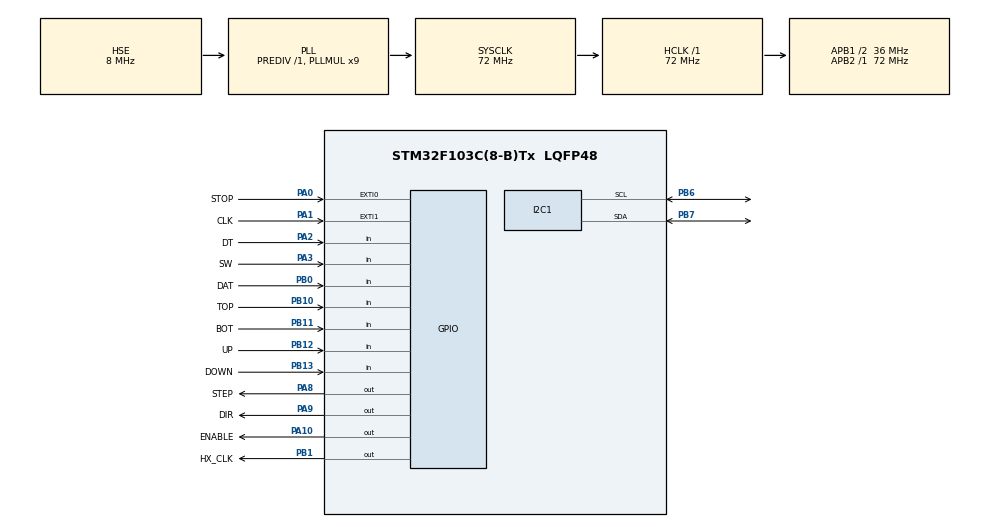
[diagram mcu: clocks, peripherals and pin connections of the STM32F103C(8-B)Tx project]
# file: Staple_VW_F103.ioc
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Mcu.Family=STM32F1
Mcu.Name=STM32F103C(8-B)Tx
Mcu.Package=LQFP48
NVIC.EXTI0_IRQn=true\:0\:0\:false\:false\:true\:true\:true\:true
NVIC.EXTI1_IRQn=true\:1\:0\:true\:false\:true\:true\:true\:true
NVIC.PriorityGroup=NVIC_PRIORITYGROUP_4
NVIC.TIM2_IRQn=true\:3\:0\:true\:false\:true\:true\:true\:true
PA0-WKUP.GPIO_Label=STOP
PA0-WKUP.GPIO_ModeDefaultEXTI=GPIO_MODE_IT_FALLING
PA0-WKUP.GPIO_PuPd=GPIO_PULLUP
PA0-WKUP.Signal=GPXTI0
PA1.GPIO_Label=CLK
PA1.GPIO_ModeDefaultEXTI=GPIO_MODE_IT_FALLING
PA1.GPIO_PuPd=GPIO_PULLUP
PA1.Signal=GPXTI1
PA10.GPIO_Label=ENABLE
PA10.GPIO_Speed=GPIO_SPEED_FREQ_MEDIUM
PA10.Signal=GPIO_Output
PA13.Mode=Serial_Wire
PA13.Signal=SYS_JTMS-SWDIO
PA14.Mode=Serial_Wire
PA14.Signal=SYS_JTCK-SWCLK
PA2.GPIO_Label=DT
PA2.GPIO_PuPd=GPIO_PULLUP
PA2.Signal=GPIO_Input
PA3.GPIO_Label=SW
PA3.GPIO_PuPd=GPIO_PULLUP
PA3.Signal=GPIO_Input
PA8.GPIO_Label=STEP
PA8.GPIO_Speed=GPIO_SPEED_FREQ_MEDIUM
PA8.Signal=GPIO_Output
PA9.GPIO_Label=DIR
PA9.GPIO_Speed=GPIO_SPEED_FREQ_MEDIUM
PA9.Signal=GPIO_Output
PB0.GPIO_Label=DAT
PB0.GPIO_PuPd=GPIO_PULLUP
PB0.Signal=GPIO_Input
PB1.GPIO_Label=HX_CLK
PB1.GPIO_Speed=GPIO_SPEED_FREQ_MEDIUM
PB1.Signal=GPIO_Output
PB10.GPIO_Label=TOP
PB10.GPIO_PuPd=GPIO_PULLUP
PB10.Signal=GPIO_Input
PB11.GPIO_Label=BOT
PB11.GPIO_PuPd=GPIO_PULLUP
PB11.Signal=GPIO_Input
PB12.GPIO_Label=UP
PB12.GPIO_PuPd=GPIO_PULLUP
PB12.Signal=GPIO_Input
PB13.GPIO_Label=DOWN
PB13.GPIO_PuPd=GPIO_PULLUP
PB13.Signal=GPIO_Input
PB6.Mode=I2C
PB6.Signal=I2C1_SCL
PB7.Mode=I2C
PB7.Signal=I2C1_SDA
PD0-OSC_IN.Mode=HSE-External-Oscillator
PD0-OSC_IN.Signal=RCC_OSC_IN
PD1-OSC_OUT.Mode=HSE-External-Oscillator
PD1-OSC_OUT.Signal=RCC_OSC_OUT
ProjectManager.HeapSize=0x200
ProjectManager.StackSize=0x400
ProjectManager.TargetToolchain=Makefile
RCC.AHBFreq_Value=72000000
RCC.APB1CLKDivider=RCC_HCLK_DIV2
RCC.APB1Freq_Value=36000000
RCC.APB1TimFreq_Value=72000000
RCC.APB2Freq_Value=72000000
RCC.APB2TimFreq_Value=72000000
RCC.HCLKFreq_Value=72000000
RCC.PLLMUL=RCC_PLL_MUL9
RCC.PLLSourceVirtual=RCC_PLLSOURCE_HSE
RCC.SYSCLKFreq_VALUE=72000000
RCC.SYSCLKSource=RCC_SYSCLKSOURCE_PLLCLK
RCC.USBFreq_Value=72000000
TIM2.Period=999
TIM2.Prescaler=71
VP_TIM2_VS_ClockSourceINT.Mode=Internal
board=custom

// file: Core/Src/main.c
/* USER CODE BEGIN Header */
/**
  ******************************************************************************
  * @file           : main.c
  * @brief          : Main program body
  ******************************************************************************
  * @attention
  *
  * Copyright (c) 2026 STMicroelectronics.
  * All rights reserved.
  *
  * This software is licensed under terms that can be found in the LICENSE file
  * in the root directory of this software component.
  * If no LICENSE file comes with this software, it is provided AS-IS.
  *
  ******************************************************************************
  */
/* USER CODE END Header */
#include "main.h"
#include "i2c.h"
#include "tim.h"
#include "gpio.h"

/* USER CODE BEGIN Includes */
#include "calibration.h"
#include "config.h"
#include "display.h"
#include "input.h"
#include "loadcell.h"
#include "motor.h"
#include <math.h>

/* USER CODE END Includes */

/* USER CODE BEGIN PV */
static float s_target_kg = FORCE_DEFAULT_KG;
static uint32_t s_display_tick = 0;
static float s_last_saved_target_kg = FORCE_DEFAULT_KG;
static uint32_t s_last_target_change_tick = 0;
static uint32_t s_last_flash_save_tick = 0;
static uint32_t s_stop_confirm_until_tick = 0;
static bool s_stop_confirm_armed = false;

/* USER CODE END PV */

void SystemClock_Config(void);

int main(void)
{

  /* MCU Configuration--------------------------------------------------------*/

  /* Reset of all peripherals, Initializes the Flash interface and the Systick. */
  HAL_Init();

  /* Configure the system clock */
  SystemClock_Config();

  /* Initialize all configured peripherals */
  MX_GPIO_Init();
  MX_I2C1_Init();
  MX_TIM2_Init();
  /* USER CODE BEGIN 2 */
  motor_init();
  loadcell_init();
  input_init();
  calib_init();

  {
    float saved_scale;
    int32_t saved_offset;
    float saved_target;
    if (flash_load(&saved_scale, &saved_offset, &saved_target)) {
      loadcell_set_scale(saved_scale);
      loadcell_set_offset(saved_offset);
      if (saved_target > 0.0f && saved_target <= FORCE_MAX_KG) {
        s_target_kg = saved_target;
      }
    }
  }
  s_last_saved_target_kg = s_target_kg;
  s_last_target_change_tick = HAL_GetTick();
  s_last_flash_save_tick = HAL_GetTick();

  display_init();
  display_set_screen(SCREEN_MAIN);
  display_set_force(0.0f, s_target_kg);

  HAL_TIM_Base_Start_IT(&htim2);

  /* USER CODE END 2 */

  /* Infinite loop */
  while (1)
  {

    /* USER CODE BEGIN 3 */
    loadcell_update();
    input_update();
    motor_update();

    float force = loadcell_get_kg();
    int8_t enc_delta = input_enc_get_delta();
    DisplayScreen cur_screen = display_get_screen();

    if (input_stop_pressed()) {
      input_stop_clear();
      uint32_t now = HAL_GetTick();
      if (cur_screen == SCREEN_ERROR) {
        if (s_stop_confirm_armed && now <= s_stop_confirm_until_tick) {
          s_stop_confirm_armed = false;
          motor_clear_error();
          display_set_screen(SCREEN_MAIN);
          cur_screen = SCREEN_MAIN;
        } else {
          s_stop_confirm_armed = true;
          s_stop_confirm_until_tick = now + 2000U;
          display_show_error("STOP: press again");
          cur_screen = SCREEN_ERROR;
        }
      } else {
        s_stop_confirm_armed = true;
        s_stop_confirm_until_tick = now + 2000U;
        display_show_error("STOP: press again");
        cur_screen = SCREEN_ERROR;
      }
    }

    if (loadcell_has_error() && motor_is_running()) {
      motor_stop();
      display_show_error("HX711 no response");
    }

    if (cur_screen == SCREEN_MAIN) {

      if (motor_is_running()) {
        if (force >= s_target_kg * OVERLOAD_FACTOR) {
          motor_emergency_stop();
          display_show_error("OVERLOAD!");
        } else if (force >= s_target_kg) {
          motor_stop();
        }
      }

      bool joy_up = input_joy_up();
      bool joy_down = input_joy_down();

      if (joy_up && !motor_is_limit_top()) {
        uint16_t spd = (force >= s_target_kg * SLOWDOWN_THRESHOLD) ? SPEED_SLOW : SPEED_FAST;
        motor_move_up(spd);
      } else if (joy_down && !motor_is_limit_bot()) {
        uint16_t spd = (force >= s_target_kg * SLOWDOWN_THRESHOLD) ? SPEED_SLOW : SPEED_FAST;
        motor_move_down(spd);
      } else if (!joy_up && !joy_down && motor_is_running()) {
        motor_stop();
      }

      if (enc_delta != 0) {
        s_target_kg += (float)enc_delta * FORCE_STEP_KG;
        if (s_target_kg < FORCE_STEP_KG) s_target_kg = FORCE_STEP_KG;
        if (s_target_kg > FORCE_MAX_KG) s_target_kg = FORCE_MAX_KG;
        s_last_target_change_tick = HAL_GetTick();
      }

      if (input_enc_sw_pressed()) {
        display_set_screen(SCREEN_MENU);
      }

      if ((HAL_GetTick() - s_display_tick) >= 100U) {
        s_display_tick = HAL_GetTick();
        display_set_force(force, s_target_kg);
      }

      if (!motor_is_running()) {
        uint32_t now = HAL_GetTick();
        if ((now - s_last_target_change_tick) >= 1500U &&
            (now - s_last_flash_save_tick) >= 15000U &&
            fabsf(s_target_kg - s_last_saved_target_kg) >= 0.05f)
        {
          if (flash_save(loadcell_get_scale(), loadcell_get_offset(), s_target_kg)) {
            s_last_saved_target_kg = s_target_kg;
            s_last_flash_save_tick = now;
          }
        }
      }

    } else if (cur_screen == SCREEN_MENU) {

      if (enc_delta > 0) display_menu_next();
      else if (enc_delta < 0) display_menu_prev();

      if (input_enc_sw_pressed()) {
        uint8_t item = display_menu_get_item();
        switch (item) {
          case 0: display_set_screen(SCREEN_MAIN); break;
          case 1: calib_start(s_target_kg); break;
          case 2: display_set_screen(SCREEN_SETTINGS); break;
          case 3: motor_reset_position(); display_set_screen(SCREEN_MAIN); break;
          default: break;
        }
      }

    } else if (cur_screen == SCREEN_CALIBRATION) {

      if (calib_is_active()) {
        calib_adjust(enc_delta);
        if (input_enc_sw_pressed()) calib_confirm();
        calib_update();
      } else {
        display_set_screen(SCREEN_MAIN);
      }

    } else if (cur_screen == SCREEN_SETTINGS) {

      if (input_enc_sw_pressed()) {
        display_set_screen(SCREEN_MENU);
      }
    }

    display_update();
  }
  /* USER CODE END 3 */
}

void SystemClock_Config(void)
{
  RCC_OscInitTypeDef RCC_OscInitStruct = {0};
  RCC_ClkInitTypeDef RCC_ClkInitStruct = {0};

  /** Initializes the RCC Oscillators according to the specified parameters
  * in the RCC_OscInitTypeDef structure.
  */
  RCC_OscInitStruct.OscillatorType = RCC_OSCILLATORTYPE_HSE;
  RCC_OscInitStruct.HSEState = RCC_HSE_ON;
  RCC_OscInitStruct.HSEPredivValue = RCC_HSE_PREDIV_DIV1;
  RCC_OscInitStruct.HSIState = RCC_HSI_ON;
  RCC_OscInitStruct.PLL.PLLState = RCC_PLL_ON;
  RCC_OscInitStruct.PLL.PLLSource = RCC_PLLSOURCE_HSE;
  RCC_OscInitStruct.PLL.PLLMUL = RCC_PLL_MUL9;
  if (HAL_RCC_OscConfig(&RCC_OscInitStruct) != HAL_OK)
  {
    Error_Handler();
  }

  /** Initializes the CPU, AHB and APB buses clocks
  */
  RCC_ClkInitStruct.ClockType = RCC_CLOCKTYPE_HCLK|RCC_CLOCKTYPE_SYSCLK
                              |RCC_CLOCKTYPE_PCLK1|RCC_CLOCKTYPE_PCLK2;
  RCC_ClkInitStruct.SYSCLKSource = RCC_SYSCLKSOURCE_PLLCLK;
  RCC_ClkInitStruct.AHBCLKDivider = RCC_SYSCLK_DIV1;
  RCC_ClkInitStruct.APB1CLKDivider = RCC_HCLK_DIV2;
  RCC_ClkInitStruct.APB2CLKDivider = RCC_HCLK_DIV1;

  if (HAL_RCC_ClockConfig(&RCC_ClkInitStruct, FLASH_LATENCY_2) != HAL_OK)
  {
    Error_Handler();
  }
}

/* USER CODE BEGIN 4 */
void HAL_GPIO_EXTI_Callback(uint16_t GPIO_Pin)
{
  if (GPIO_Pin == STOP_BTN_Pin) {
    motor_emergency_stop();
    input_stop_set();
  }
  if (GPIO_Pin == ENC_CLK_Pin) {
    input_enc_isr();
  }
}

void HAL_TIM_PeriodElapsedCallback(TIM_HandleTypeDef *htim)
{
  if (htim->Instance == TIM2)
  {
    motor_tim_tick();
    input_debounce_tick();
  }
}

/* USER CODE END 4 */

void Error_Handler(void)
{
  __disable_irq();
  while (1)
  {
  }
}
